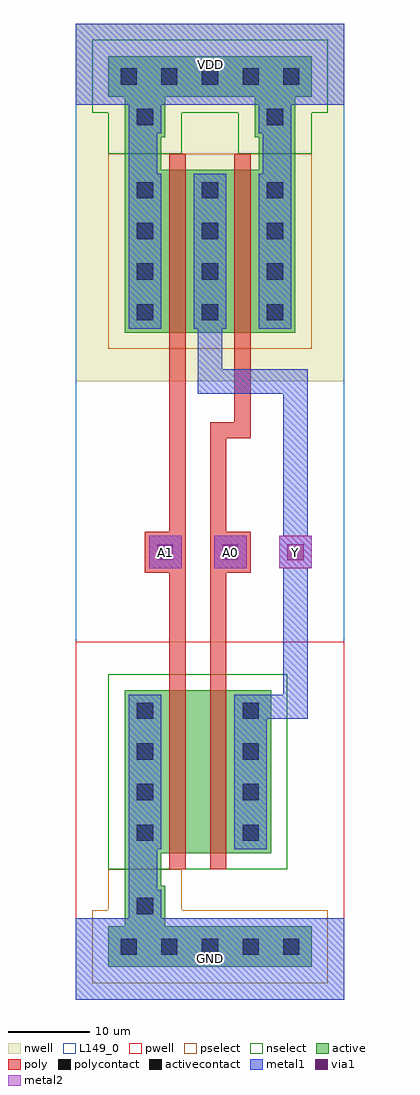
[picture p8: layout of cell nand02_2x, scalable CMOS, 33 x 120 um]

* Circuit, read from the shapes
.subckt nand02_2x A0 A1 GND VDD Y
M1 n1 A1 GND GND nfet w=20u l=2u
M2 Y A0 n1 GND nfet w=20u l=2u
M3 Y A1 VDD VDD pfet w=20u l=2u
M4 VDD A0 Y VDD pfet w=20u l=2u
.ends

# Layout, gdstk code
import gdstk
lib = gdstk.Library(unit=1e-6, precision=1e-09)
def R(c, l, rs):  # rectangles x0, y0, x1, y1
    for r in rs: c.add(gdstk.rectangle(r[:2], r[2:], *l))
def A(c, l, x, y, w, h, nx, ny, dx, dy):  # array of equal rectangles
    R(c, l, [(x+i*dx, y+j*dy, x+i*dx+w, y+j*dy+h) for i in range(nx) for j in range(ny)])
pwell = (41, 0)
nwell = (42, 0)
active = (43, 0)
pselect = (44, 0)
nselect = (45, 0)
poly = (46, 0)
polycontact = (47, 0)
activecontact = (48, 0)
metal1 = (49, 0)
via1 = (50, 0)
metal2 = (51, 0)
L149_0 = (149, 0)

via = lib.new_cell('via')
R(via, metal1, [(-2,-2,2,2)])
R(via, via1, [(-1,-1,1,1)])
R(via, metal2, [(-2,-2,2,2)])

nand02_2x = lib.new_cell('nand02_2x')
R(nand02_2x, pwell, [(0,0,33,44), (0,12,30,44)])
R(nand02_2x, nwell, [(0,76,33,108), (0,76,33,120)])
R(nand02_2x, active, [(4,4,29,9), (6,9,11,14), (6,14,10.5,18), (6,18,11.5,38), (6,18,24,38), (18.5,18,24,38), (6,82,27,102), (6,82,11.5,102), (21.5,82,27,102), (6,102,10.5,106), (22.5,102,27,106), (6,106,11,111), (22,106,27,111), (4,111,29,116)])
R(nand02_2x, pselect, [(2,2,31,11), (4,11,13,16), (4,80,29,104)])
R(nand02_2x, nselect, [(4,16,26,40), (4,104,13,109), (20,104,29,109), (2,109,31,118)])
R(nand02_2x, poly, [(11.5,16,13.5,18), (16.5,16,18.5,18), (11.5,18,13.5,38), (16.5,18,18.5,38), (11.5,38,13.5,40), (16.5,38,18.5,40), (8.5,52.5,13.5,57.5), (16.5,52.5,21.5,57.5), (11.5,80,13.5,82), (19.5,80,21.5,82), (11.5,82,13.5,102), (19.5,82,21.5,102), (11.5,102,13.5,104), (19.5,102,21.5,104)])
R(nand02_2x, polycontact, [(10,54,12,56), (18,54,20,56)])
A(nand02_2x, activecontact, 5.5, 5.5, 2, 2, 5, 2, 5, 107)
A(nand02_2x, activecontact, 7.5, 19.5, 2, 2, 1, 4, 0, 5)
A(nand02_2x, activecontact, 20.5, 19.5, 2, 2, 1, 4, 0, 5)
A(nand02_2x, activecontact, 7.5, 83.5, 2, 2, 3, 4, 8, 5)
R(nand02_2x, activecontact, [(7.5,10.5,9.5,12.5), (7.5,107.5,9.5,109.5), (23.5,107.5,25.5,109.5)])
A(nand02_2x, metal1, 6.5, 82.5, 4, 19, 3, 1, 8, 0)
R(nand02_2x, metal1, [(0,0,33,10), (6.5,10,10.5,13.5), (6.5,13.5,10,18.5), (6.5,18.5,10.5,37.5), (19.5,18.5,23.5,37.5), (9,53,13,57), (17,53,21,57), (6.5,101.5,10,106.5), (23,101.5,26.5,106.5), (6.5,106.5,10.5,110), (22.5,106.5,26.5,110), (0,110,33,120)])
A(nand02_2x, metal2, 9, 53, 4, 4, 3, 1, 8, 0)
R(nand02_2x, L149_0, [(0,0,33,120)])
nand02_2x.add(gdstk.FlexPath([(27,53),(27,36),(23.5,36)], 3, ends="flush", simple_path=True, layer=49, datatype=0))  # metal1
nand02_2x.add(gdstk.FlexPath([(16.5,82.5),(16.5,76),(27,76),(27,57)], 3, ends="flush", simple_path=True, layer=49, datatype=0))  # metal1
nand02_2x.add(gdstk.FlexPath([(12.5,40),(12.5,80)], 2, ends="flush", simple_path=True, layer=46, datatype=0))  # poly
nand02_2x.add(gdstk.FlexPath([(20.5,80),(20.5,70),(17.5,70),(17.5,40)], 2, ends="flush", simple_path=True, layer=46, datatype=0))  # poly
nand02_2x.add(gdstk.Reference(via, (19,55)))
nand02_2x.add(gdstk.Reference(via, (27,55)))
nand02_2x.add(gdstk.Reference(via, (11,55)))
nand02_2x.add(gdstk.Label('A1', (11,55), layer=3, texttype=0))
nand02_2x.add(gdstk.Label('Y', (27,55), layer=3, texttype=0))
nand02_2x.add(gdstk.Label('A0', (19,55), layer=3, texttype=0))
nand02_2x.add(gdstk.Label('GND', (16.5,5), layer=2, texttype=0))
nand02_2x.add(gdstk.Label('VDD', (16.5,115), layer=2, texttype=0))

lib.write_gds('nand02_2x.gds')
